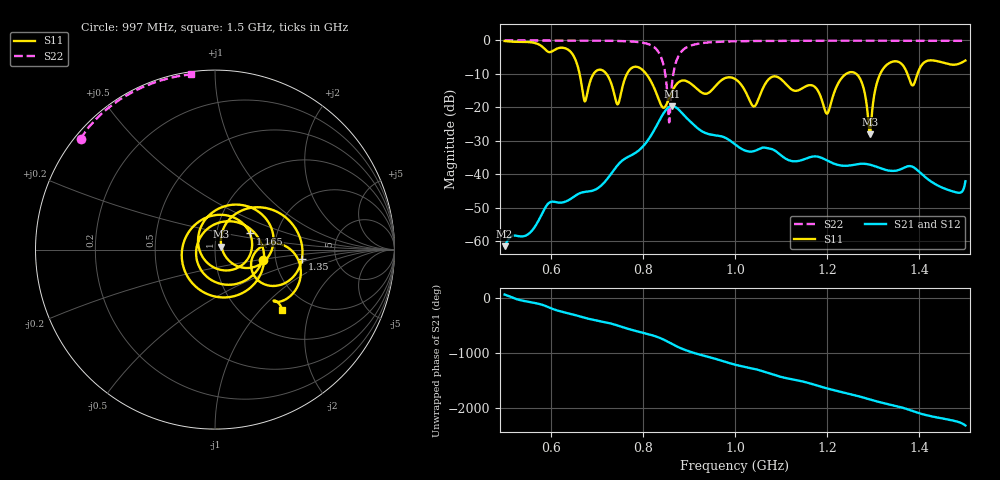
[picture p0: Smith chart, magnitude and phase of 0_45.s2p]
! TOUCHSTONE file generated by CST MICROWAVE STUDIO
! Date and time: Sat Oct 24 10:48:59 2020
! Project name: Scenario_1_Planar_Body_Tissue_Center.cst
! Parameters = {hfat=3; hmuscle=50; hskin=1.5; hgap=25; Wtissue=700; Ltissue=700; L_HA=400; MT=2.54; Rad_Dielectric=30; Rad_Lower=7.3; Rad_Upper=30; a_HA=580; a_WG=246; b_HA=500; b_WG=121; c_HA=0; c_WG=187; d_feed=85; dx1=935.08; h_feed=15; h_lower=18; h_upper=40}
! Header version: 2018
! Port assignment regex: !\s*Touchstone port\s*([0-9]+)\s*=\s*(CST MWS port|CST DS port)\s*([0-9]+|Zmin|Zmax)\s*\(\"(.*)\"\)(\s*mode\s*([0-9]+))?.*
! Touchstone port assignment:
! Touchstone port 1 = CST MWS port 1 ("")
! Touchstone port 2 = CST MWS port 2 ("")
# GHz S DB R 50
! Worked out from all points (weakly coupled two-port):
!   1003 points, 500 MHz to 1.5 GHz, reference 50 ohm
!   highest |S21| = -19.67 dB at 864 MHz (marker M1); lowest = -61.6 dB at 500 MHz (marker M2)
!   lowest |S11| = -28.1 dB at 1.293 GHz (marker M3), VSWR 1.08, Z = 53.7 + j1.67 ohm
!   |S11| at or under -10 dB: 721.1 MHz to 765.6 MHz (44.55 MHz wide, 5.99 % of centre); 807.2 MHz to 1.241 GHz (434.1 MHz wide, 42.4 % of centre); 1.263 GHz to 1.315 GHz (52.08 MHz wide, 4.04 % of centre) (the widest 3 of 5)
!   |S22| runs from -24.5 to 0.0 dB; largest |S21 - S12| = 3.7e-05
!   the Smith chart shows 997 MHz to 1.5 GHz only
!   S11 on the Smith chart (normalised r, x): 997 MHz: 1.70, -0.22; 1.165 GHz: 1.45, +0.27; 1.35 GHz: 2.84, -0.39; 1.5 GHz: 1.49, -1.32
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0.5  -0.18 -122.3  -61.56 63.0  -61.56 63.0  -0.01 151.1
0.624  -2.18 171.9  -48.51 112.3  -48.51 112.3  -0.03 142.2
0.667  -13.20 108.0  -45.53 17.6  -45.53 17.6  -0.04 138.4
0.712  -8.92 130.4  -43.12 -67.2  -43.12 -67.2  -0.08 133.3
0.746  -19.08 -33.4  -37.22 -139.7  -37.22 -139.7  -0.15 128.2
0.776  -8.21 166.6  -34.28 142.2  -34.28 142.2  -0.32 121.3
0.834  -17.47 -22.2  -24.44 6.4  -24.44 6.4  -3.47 82.9
0.856  -17.64 -167.0  -20.03 -79.8  -20.03 -79.8  -22.65 -7.1
0.864  -15.12 153.1  -19.67 -115.3  -19.67 -115.3  -12.07 -137.9
0.897  -12.31 21.1  -23.48 123.6  -23.48 123.6  -1.94 169.6
0.947  -15.23 170.4  -28.16 2.2  -28.16 2.2  -0.55 149.4
0.997  -11.31 -12.7  -30.77 -120.9  -30.77 -120.9  -0.27 140.6
1  -11.52 -21.9  -31.09 -127.5  -31.09 -127.5  -0.26 140.2
1.121  -14.48 -168.8  -36.02 -28.0  -36.02 -28.0  -0.11 127.9
1.165  -13.38 24.9  -34.86 -112.6  -34.86 -112.6  -0.10 124.3
1.167  -13.43 18.3  -34.80 -117.5  -34.80 -117.5  -0.10 124.2
1.2  -21.90 -151.4  -35.93 161.2  -35.93 161.2  -0.09 121.6
1.261  -9.79 4.0  -37.12 36.5  -37.12 36.5  -0.09 117.0
1.293  -28.10 23.2  -37.19 -39.0  -37.19 -39.0  -0.08 114.6
1.334  -6.83 17.7  -38.95 -127.5  -38.95 -127.5  -0.09 111.5
1.35  -6.25 -6.2  -38.95 -158.4  -38.95 -158.4  -0.09 110.2
1.5  -6.01 -41.8  -42.12 -149.4  -42.12 -149.4  -0.13 97.9
